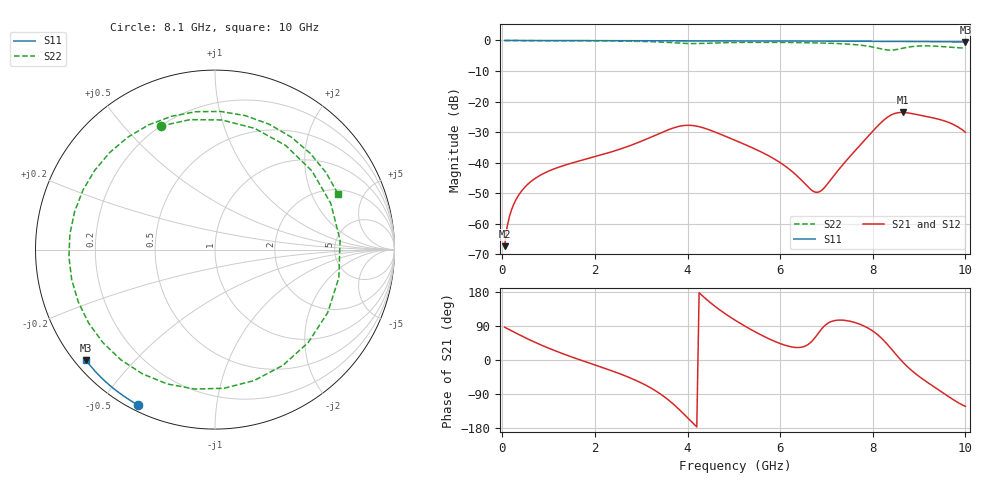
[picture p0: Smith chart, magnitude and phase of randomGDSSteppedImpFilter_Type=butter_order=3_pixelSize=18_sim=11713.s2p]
! freq	dB(S11)	phase(S11)	dB(S12)	phase(S12)
!  dB(S21)	phase(S21)	dB(S22)	phase(S22)
!S-par simulation data
#  GHz  S  DB  R 50
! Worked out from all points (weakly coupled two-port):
!   200 points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, 50 MHz to 10 GHz, reference 50 ohm
!   highest |S21| = -23.57 dB at 8.65 GHz (marker M1); lowest = -67.3 dB at 50 MHz (marker M2)
!   lowest |S11| = -0.5 dB at 10 GHz (marker M3), VSWR 36.67, Z = 1.55 - j18.5 ohm
!   |S11| at or under -10 dB: nowhere
!   |S22| runs from -3.2 to 0.0 dB; largest |S21 - S12| = 0
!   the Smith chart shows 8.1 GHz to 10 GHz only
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0.05  -0.00 -0.8  -67.34 86.6  -67.34 86.6  -0.01 -5.7
0.25  -0.01 -4.0  -53.51 73.9  -53.51 73.9  -0.04 -27.9
0.8  -0.02 -12.9  -44.29 41.6  -44.29 41.6  -0.10 -84.0
1.75  -0.04 -27.9  -39.08 -2.7  -39.08 -2.7  -0.15 -160.1
2.6  -0.05 -41.0  -35.28 -39.3  -35.28 -39.3  -0.22 137.8
3.4  -0.08 -53.0  -30.40 -88.5  -30.40 -88.5  -0.51 54.2
3.8  -0.09 -58.9  -28.18 -128.3  -28.18 -128.3  -0.86 -16.6
4.15  -0.10 -63.9  -27.92 -170.6  -27.92 -170.6  -1.02 -94.1
4.55  -0.11 -69.6  -29.72 145.7  -29.72 145.7  -0.85 -171.4
5.05  -0.12 -76.6  -32.83 103.3  -32.83 103.3  -0.66 118.3
5.45  -0.13 -82.1  -35.49 75.0  -35.49 75.0  -0.62 71.5
5.95  -0.15 -88.8  -39.50 45.7  -39.50 45.7  -0.63 16.7
6.7  -0.19 -98.6  -49.24 51.3  -49.24 51.3  -0.77 -61.6
7.2  -0.22 -105.0  -43.50 104.6  -43.50 104.6  -0.99 -112.9
7.75  -0.26 -111.9  -33.88 93.0  -33.88 93.0  -1.56 -179.6
8.1  -0.29 -116.3  -28.09 67.2  -28.09 67.2  -2.47 113.8
8.35  -0.32 -119.4  -24.80 36.5  -24.80 36.5  -3.15 39.0
8.65  -0.35 -123.0  -23.57 -5.7  -23.57 -5.7  -2.52 -59.6
8.9  -0.37 -126.0  -24.10 -33.9  -24.10 -33.9  -1.92 -120.3
9.25  -0.40 -130.2  -25.18 -64.9  -25.18 -64.9  -1.80 173.9
9.65  -0.44 -135.1  -26.90 -97.6  -26.90 -97.6  -2.21 98.0
10  -0.47 -139.3  -30.08 -122.1  -30.08 -122.1  -2.47 24.5
